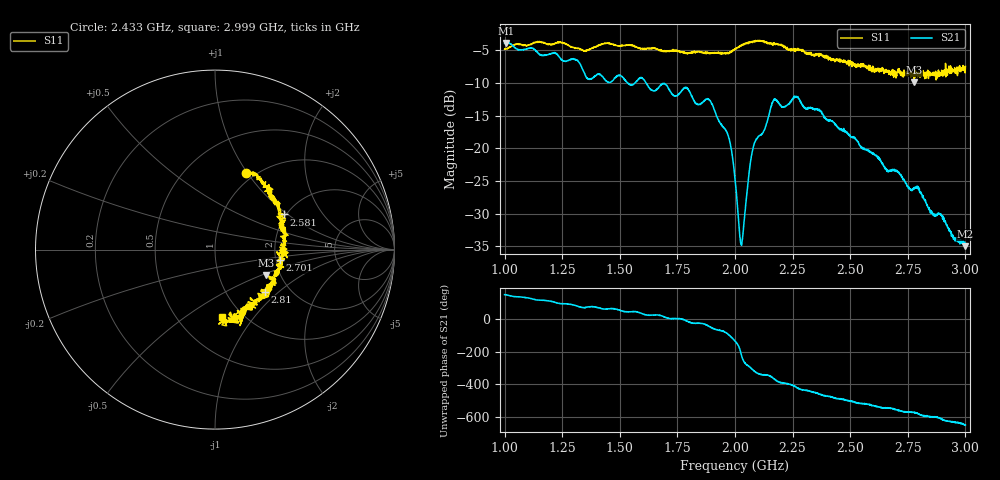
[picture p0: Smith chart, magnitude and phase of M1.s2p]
# HZ S RI R 50
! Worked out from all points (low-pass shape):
!   2020 points, 1 GHz to 3 GHz, reference 50 ohm
!   highest |S21| = -3.88 dB at 1.007 GHz (marker M1); lowest = -35.0 dB at 2.999 GHz (marker M2)
!   |S21| within 3 dB of the highest: start of sweep to 1.324 GHz
!   lowest |S11| = -9.9 dB at 2.777 GHz (marker M3), VSWR 1.94, Z = 84.8 - j26.8 ohm
!   |S11| at or under -10 dB: nowhere
!   S12 and S22 are empty: the file has one direction only
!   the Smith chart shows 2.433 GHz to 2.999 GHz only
!   S11 on the Smith chart (normalised r, x): 2.433 GHz: 0.92, +0.99; 2.581 GHz: 1.95, +0.94; 2.701 GHz: 2.10, -0.28; 2.81 GHz: 1.51, -0.82; 2.999 GHz: 0.81, -0.71
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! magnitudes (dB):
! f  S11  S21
! 1 GHz  -4.8  -4.0
! 1.007 GHz  -4.7  -3.9
! 1.334 GHz  -4.9  -7.6
! 1.366 GHz  -4.9  -9.4
! 1.668 GHz  -4.9  -10.8
! 1.893 GHz  -5.4  -12.8
! 1.971 GHz  -5.4  -18.1
! 2 GHz  -4.8  -24.8
! 2.019 GHz  -4.4  -32.9
! 2.028 GHz  -4.3  -34.9
! 2.078 GHz  -3.7  -20.0
! 2.165 GHz  -4.0  -12.8
! 2.265 GHz  -4.9  -12.1
! 2.334 GHz  -5.7  -13.9
! 2.433 GHz  -6.8  -16.4
! 2.581 GHz  -7.3  -20.4
! 2.667 GHz  -8.1  -23.5
! 2.701 GHz  -8.8  -23.4
! 2.777 GHz  -9.9  -26.0
! 2.81 GHz  -8.8  -27.0
! 2.999 GHz  -8.5  -35.0
! 3 GHz  -7.5  -34.6
